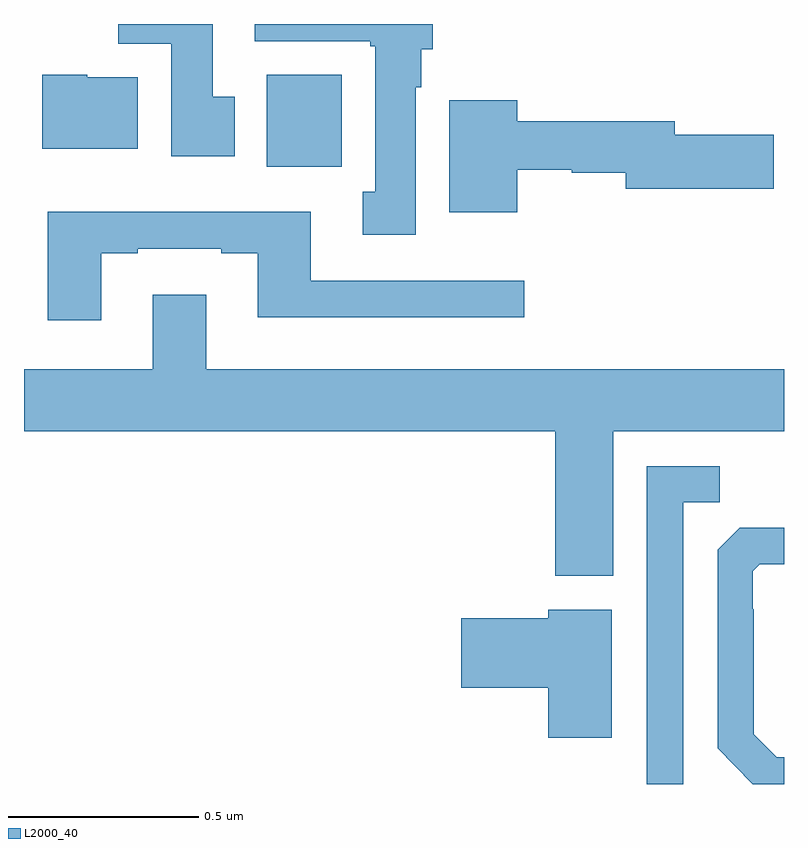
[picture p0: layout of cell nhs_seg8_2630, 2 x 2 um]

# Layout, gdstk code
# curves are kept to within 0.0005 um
import gdstk
lib = gdstk.Library(unit=1e-6, precision=1e-09)
def R(c, l, rs):  # rectangles x0, y0, x1, y1
    for r in rs: c.add(gdstk.rectangle(r[:2], r[2:], *l))
def P(c, l, *ps):  # polygons
    for p in ps: c.add(gdstk.Polygon(p, *l))
L2000_40 = (2000, 40)

nhs_seg8_2630 = lib.new_cell('nhs_seg8_2630')
R(nhs_seg8_2630, L2000_40, [(146.639,1122.524,146.836,1122.766)])
P(nhs_seg8_2630, L2000_40, [(146.554,1122.708),(146.497,1122.708),(146.497,1122.9),(146.248,1122.9),(146.248,1122.848),(146.387,1122.848),(146.387,1122.552),(146.554,1122.552)],
  [(147.031,1122.734),(147.046,1122.734),(147.046,1122.834),(147.076,1122.834),(147.076,1122.9),(146.607,1122.9),(146.607,1122.854),(146.911,1122.854),(146.911,1122.841),(146.924,1122.841),(146.924,1122.458),(146.891,1122.458),(146.891,1122.345),(147.031,1122.345)],
  [(146.299,1122.76),(146.166,1122.76),(146.166,1122.766),(146.048,1122.766),(146.048,1122.572),(146.299,1122.572)],
  [(147.298,1122.516),(147.441,1122.516),(147.441,1122.508),(147.584,1122.508),(147.584,1122.466),(147.973,1122.466),(147.973,1122.608),(147.712,1122.608),(147.712,1122.644),(147.298,1122.644),(147.298,1122.7),(147.119,1122.7),(147.119,1122.404),(147.298,1122.404)],
  [(146.203,1122.297),(146.299,1122.297),(146.299,1122.309),(146.519,1122.309),(146.519,1122.297),(146.615,1122.297),(146.615,1122.128),(147.316,1122.128),(147.316,1122.225),(146.755,1122.225),(146.755,1122.406),(146.063,1122.406),(146.063,1122.12),(146.203,1122.12)],
  [(147.55,1121.828),(148,1121.828),(148,1121.992),(146.479,1121.992),(146.479,1122.187),(146.339,1122.187),(146.339,1121.992),(146,1121.992),(146,1121.828),(147.398,1121.828),(147.398,1121.448),(147.55,1121.448)],
  [(147.735,1121.641),(147.831,1121.641),(147.831,1121.736),(147.639,1121.736),(147.639,1120.9),(147.735,1120.9)],
  [(148,1120.971),(147.981,1120.971),(147.921,1121.031),(147.921,1121.36),(147.918,1121.36),(147.918,1121.46),(147.936,1121.478),(148,1121.478),(148,1121.575),(147.884,1121.575),(147.825,1121.516),(147.825,1120.994),(147.918,1120.9),(148,1120.9)],
  [(147.547,1121.359),(147.38,1121.359),(147.38,1121.336),(147.15,1121.336),(147.15,1121.153),(147.38,1121.153),(147.38,1121.022),(147.547,1121.022)])

lib.write_gds('nhs_seg8_2630.gds')
